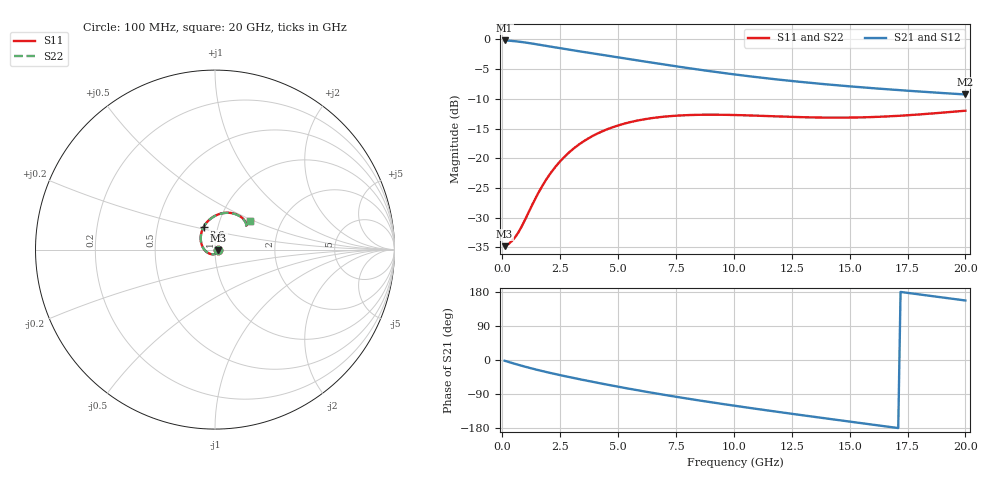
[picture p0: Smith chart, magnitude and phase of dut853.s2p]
! Touchstone file exported from HFSS 2024.1.0
!  File:  C:/UserFiles/LocalFiles/RDL_TSV_Batchsim/temp_RDL_TSV_853_1779923103.aedt
!  Generated:  07:19:00 AM May 28, 2026
!  Design:  RDL_TSV
!  Project:  temp_RDL_TSV_853_1779923103
!  Setup:  Setup1
!  Solution:  Sweep
! Variables:
!  dtsv = 14.13um
!  hbump = 3um
!  htsv = 70.53um
!  ldown = 501.92um
!  lrdl = 336.16um
!  p = 40
!  p1 = 48.66um
!  rhole = 10um
!  subl = 2850.4um
!  t = 450um
!  tdown = 2.34um
!  trdl = 2.13um
!  viad = 10um
!  wdown = 23.28um
!  wrdl = 28.5um
!  xbump = 18um
# GHz S MA R 50.000000
! Terminal data exported
! Port[1] = TM1_1_T1
! Port[2] = TM1_4_T1
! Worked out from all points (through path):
!   200 points, 100 MHz to 20 GHz, reference 50 ohm
!   highest |S21| = -0.16 dB at 100 MHz (marker M1); lowest = -9.3 dB at 20 GHz (marker M2)
!   group delay of S21, straight-line fit = 26.6 ps
!   lowest |S11| = -34.8 dB at 100 MHz (marker M3), VSWR 1.04, Z = 51.8 - j0.373 ohm
!   |S11| at or under -10 dB: start of sweep to end of sweep
!   |S22| runs from -34.8 to -12.0 dB; largest |S21 - S12| = 2.3e-14
!   S11 on the Smith chart (normalised r, x): 100 MHz: 1.04, -0.01; 3.6 GHz: 0.86, +0.22; 20 GHz: 1.39, +0.47
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0.1  0.01818 -11.4  0.9813 -1.9  0.9813 -1.9  0.01818 -11.4
! Gamma 0 0 0 0
! Port Impedance 50 0 50 0
0.4  0.01998 -48.5  0.9731 -7.5  0.9731 -7.5  0.01998 -48.5
0.7  0.02385 -87.7  0.9596 -12.9  0.9596 -12.9  0.02385 -87.7
1.1  0.03383 -132.3  0.9364 -19.6  0.9364 -19.6  0.03382 -132.3
1.6  0.05291 -170.9  0.9034 -27.4  0.9034 -27.4  0.05288 -170.9
2  0.0709 167.5  0.8765 -33.1  0.8765 -33.1  0.07085 167.5
2.5  0.09429 147.1  0.8444 -40.0  0.8444 -40.0  0.09421 147.1
3  0.1171 131.2  0.8142 -46.5  0.8142 -46.5  0.117 131.2
3.5  0.1384 118.2  0.7857 -52.7  0.7857 -52.7  0.1382 118.2
3.6  0.1424 115.9  0.7802 -54.0  0.7802 -54.0  0.1422 115.9
4.3  0.1679 101.5  0.7427 -62.4  0.7427 -62.4  0.1677 101.5
5.1  0.1914 88.1  0.7022 -71.6  0.7022 -71.6  0.1911 88.1
5.9  0.2088 77.2  0.6639 -80.5  0.6639 -80.5  0.2084 77.2
6.8  0.2219 67.1  0.6236 -90.0  0.6236 -90.0  0.2214 67.1
8.4  0.232 53.8  0.5606 -105.8  0.5606 -105.8  0.2313 53.8
10.1  0.2311 44.5  0.5058 -121.3  0.5058 -121.3  0.2303 44.6
11.7  0.2257 39.6  0.4646 -135.2  0.4646 -135.2  0.2249 39.8
13.4  0.2207 37.5  0.4296 -149.4  0.4296 -149.4  0.2198 37.7
15  0.2199 37.5  0.4031 -162.6  0.4031 -162.6  0.2192 37.8
16.7  0.2253 38.4  0.3799 -176.4  0.3799 -176.4  0.2249 38.8
18.3  0.236 39.1  0.3614 170.7  0.3614 170.7  0.2358 39.5
20  0.2513 38.9  0.3444 157.0  0.3444 157.0  0.2515 39.3
